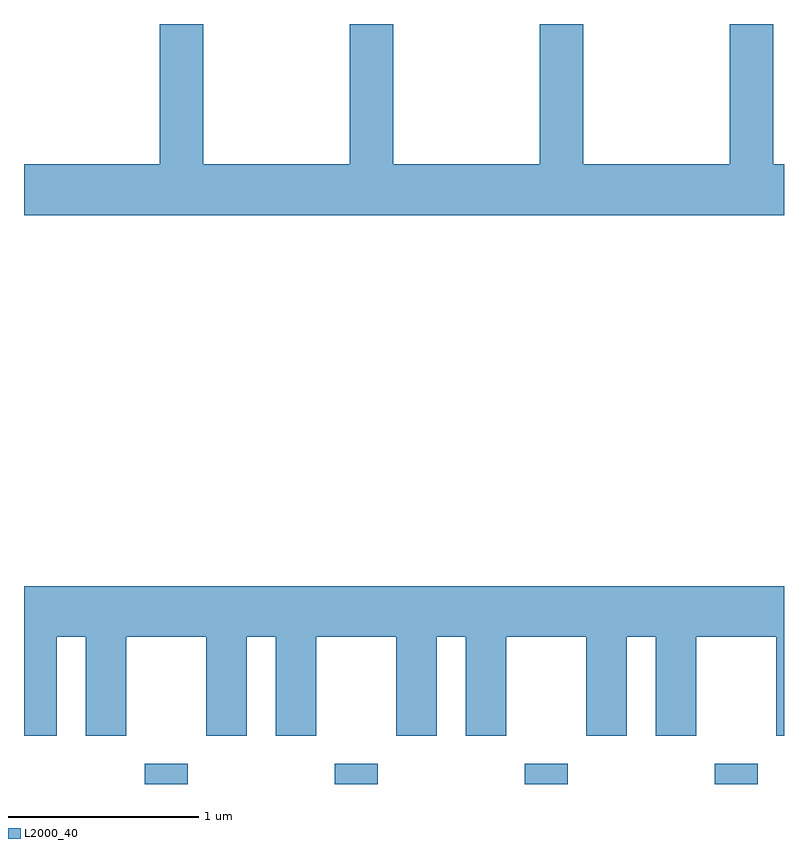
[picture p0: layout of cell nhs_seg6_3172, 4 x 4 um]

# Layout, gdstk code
import gdstk
lib = gdstk.Library(unit=1e-6, precision=1e-09)
def R(c, l, rs):  # rectangles x0, y0, x1, y1
    for r in rs: c.add(gdstk.rectangle(r[:2], r[2:], *l))
def A(c, l, x, y, w, h, nx, ny, dx, dy):  # array of equal rectangles
    R(c, l, [(x+i*dx, y+j*dy, x+i*dx+w, y+j*dy+h) for i in range(nx) for j in range(ny)])
def P(c, l, *ps):  # polygons
    for p in ps: c.add(gdstk.Polygon(p, *l))
L2000_40 = (2000, 40)

nhs_seg6_3172 = lib.new_cell('nhs_seg6_3172')
A(nhs_seg6_3172, L2000_40, 282.246, 1538.162, 0.228, 0.107, 4, 1, 1, 0)
P(nhs_seg6_3172, L2000_40, [(285.611,1541.424),(285.554,1541.424),(285.554,1542.162),(285.326,1542.162),(285.326,1541.424),(284.554,1541.424),(284.554,1542.162),(284.326,1542.162),(284.326,1541.424),(283.554,1541.424),(283.554,1542.162),(283.326,1542.162),(283.326,1541.424),(282.554,1541.424),(282.554,1542.162),(282.326,1542.162),(282.326,1541.424),(281.611,1541.424),(281.611,1541.156),(285.611,1541.156)],
  [(281.784,1538.936),(281.936,1538.936),(281.936,1538.416),(282.149,1538.416),(282.149,1538.936),(282.571,1538.936),(282.571,1538.416),(282.784,1538.416),(282.784,1538.936),(282.936,1538.936),(282.936,1538.416),(283.149,1538.416),(283.149,1538.936),(283.571,1538.936),(283.571,1538.416),(283.784,1538.416),(283.784,1538.936),(283.936,1538.936),(283.936,1538.416),(284.149,1538.416),(284.149,1538.936),(284.571,1538.936),(284.571,1538.416),(284.784,1538.416),(284.784,1538.936),(284.936,1538.936),(284.936,1538.416),(285.149,1538.416),(285.149,1538.936),(285.571,1538.936),(285.571,1538.416),(285.611,1538.416),(285.611,1539.204),(281.611,1539.204),(281.611,1538.416),(281.784,1538.416)])

lib.write_gds('nhs_seg6_3172.gds')
